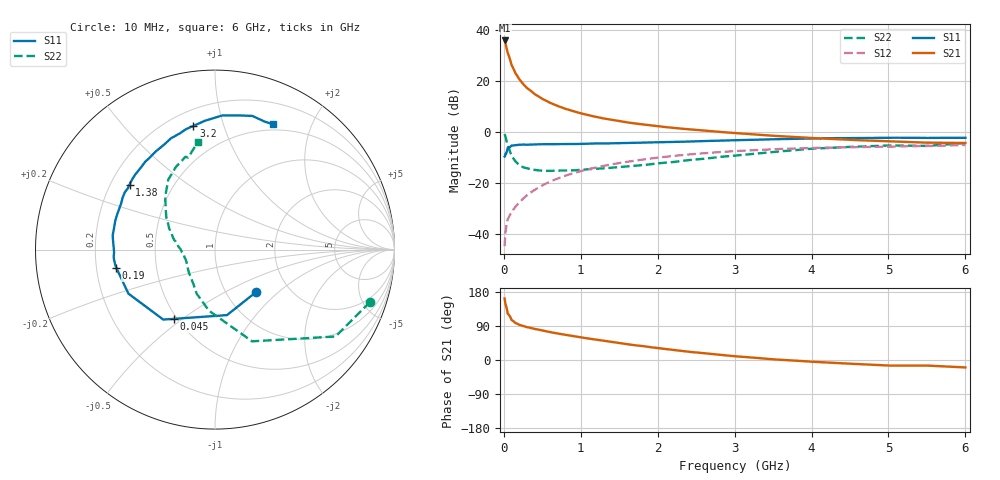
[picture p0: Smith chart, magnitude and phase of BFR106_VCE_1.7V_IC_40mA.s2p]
! Infineon Technologies  Discrete & RF Semiconductors
! BFR106
! VCE =  1.7 V,  IC =  40 mA
! Common Emitter S-Parameters:  Nov 2015
# GHz  S  MA  R  50
!  f  S11  S21  S12  S22
! GHz  MAG  ANG  MAG  ANG  MAG  ANG  MAG  ANG
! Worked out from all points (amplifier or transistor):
!   210 points, 10 MHz to 6 GHz, reference 50 ohm
!   highest |S21| = 36.0 dB at 10 MHz (marker M1)
!   |S21| within 3 dB of that: start of sweep to 35.8 MHz
!   unconditionally stable (mu >= 1): 252.5 MHz to 2.841 GHz; 5.07 GHz to end of sweep
!   at 185 MHz: K = 0.92, MSG = 24.9 dB, |S12| = -28.2 dB
!   at 1.52 GHz: K = 1.06, MAG = 6.7 dB, |S12| = -12.1 dB
!   at 6 GHz: K = 1.01, MAG = -0.2 dB, |S12| = -5.1 dB
!   S11 on the Smith chart (normalised r, x): 10 MHz: 1.37, -0.73; 45 MHz: 0.48, -0.46; 190 MHz: 0.28, -0.08; 1.38 GHz: 0.28, +0.31; 3.2 GHz: 0.29, +0.80; 6 GHz: 0.43, +1.48
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0.01  0.3289 -46.1  62.95 162.3  0.0057 78.2  0.9116 -18.7
0.02  0.3711 -79.6  56.19 148.2  0.0105 65.5  0.8279 -35.8
0.045  0.4487 -120.7  38.83 128.6  0.0176 57.8  0.5807 -60.7
0.05  0.485 -126.5  36.21 122.6  0.0191 57.0  0.5511 -68.0
0.1  0.5413 -153.1  20.88 105.7  0.0265 57.3  0.342 -95.7
0.15  0.5502 -164.9  14.34 97.7  0.0337 60.4  0.2657 -112.6
0.19  0.5591 -169.6  11.62 94.2  0.0396 63.3  0.2315 -120.6
0.2  0.5619 -170.8  10.95 93.0  0.0411 63.9  0.2238 -123.0
0.26  0.5657 -176.0  8.484 88.9  0.0504 66.4  0.2007 -134.0
0.3  0.5624 -178.6  7.34 86.7  0.0569 67.6  0.1934 -139.1
0.4  0.5688 176.0  5.569 82.0  0.0728 69.0  0.1799 -149.2
0.5  0.5755 172.1  4.471 77.8  0.089 69.2  0.1732 -156.2
0.6  0.5752 167.3  3.752 73.7  0.1058 68.6  0.1722 -160.5
0.8  0.5791 161.0  2.854 66.5  0.1385 66.6  0.1755 -168.6
1.02  0.5843 153.1  2.29 59.2  0.1733 63.8  0.1809 -174.1
1.38  0.5983 142.7  1.753 48.4  0.2281 58.1  0.1975 177.6
2.02  0.6278 125.7  1.287 31.0  0.3154 47.5  0.2436 164.0
3.1  0.6945 101.7  0.93 8.5  0.428 29.5  0.3543 140.7
3.2  0.6998 99.9  0.907 7.0  0.4355 28.0  0.3664 138.6
4.1  0.7501 85.5  0.75 -5.5  0.4898 14.6  0.4759 122.0
5.1  0.7711 73.3  0.648 -14.6  0.5198 2.9  0.541 107.3
6  0.7693 65.0  0.608 -19.6  0.5553 -6.1  0.6057 99.2
